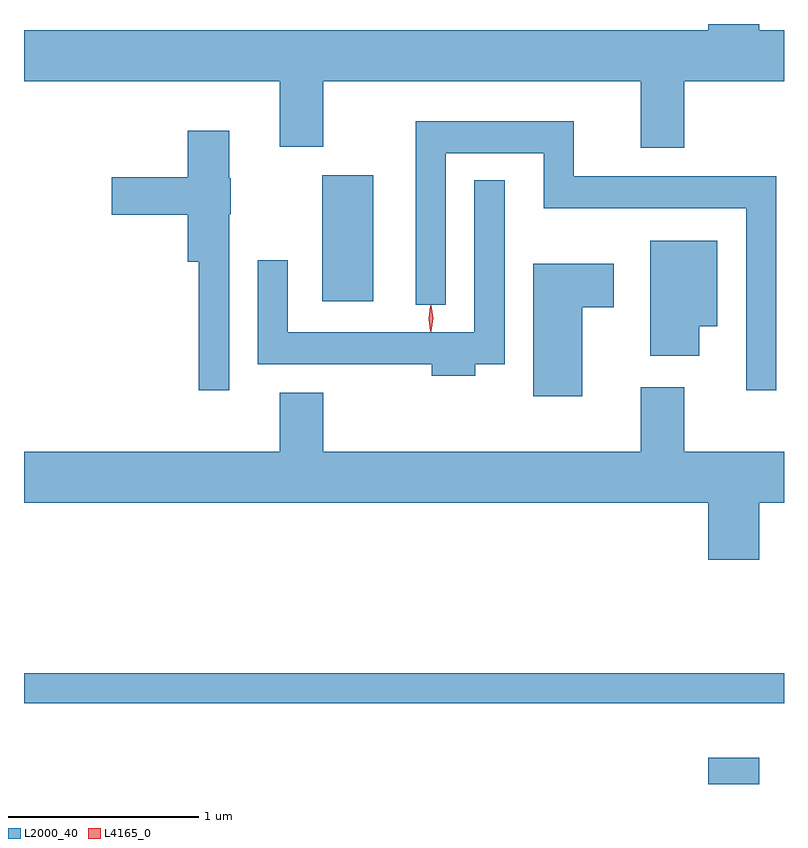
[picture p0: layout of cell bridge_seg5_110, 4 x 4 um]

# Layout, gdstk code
import gdstk
lib = gdstk.Library(unit=1e-6, precision=1e-09)
def R(c, l, rs):  # rectangles x0, y0, x1, y1
    for r in rs: c.add(gdstk.rectangle(r[:2], r[2:], *l))
def P(c, l, *ps):  # polygons
    for p in ps: c.add(gdstk.Polygon(p, *l))
L2000_40 = (2000, 40)
L4165_0 = (4165, 0)

bridge_seg5_110 = lib.new_cell('bridge_seg5_110')
R(bridge_seg5_110, L2000_40, [(1154.136,1519.696,1154.404,1519.834), (1150.535,1520.121,1154.535,1520.279), (1152.106,1522.236,1152.374,1522.899)])
P(bridge_seg5_110, L2000_40, [(1154.009,1523.396),(1154.535,1523.396),(1154.535,1523.664),(1154.404,1523.664),(1154.404,1523.696),(1154.136,1523.696),(1154.136,1523.664),(1150.535,1523.664),(1150.535,1523.396),(1151.881,1523.396),(1151.881,1523.051),(1152.109,1523.051),(1152.109,1523.396),(1153.781,1523.396),(1153.781,1523.046),(1154.009,1523.046)],
  [(1154.494,1522.894),(1153.429,1522.894),(1153.429,1523.184),(1152.596,1523.184),(1152.596,1522.218),(1152.754,1522.218),(1152.754,1523.016),(1153.271,1523.016),(1153.271,1522.726),(1154.336,1522.726),(1154.336,1521.768),(1154.494,1521.768)],
  [(1151.614,1522.695),(1151.624,1522.695),(1151.624,1522.885),(1151.614,1522.885),(1151.614,1523.134),(1151.396,1523.134),(1151.396,1522.889),(1150.996,1522.889),(1150.996,1522.691),(1151.396,1522.691),(1151.396,1522.446),(1151.456,1522.446),(1151.456,1521.768),(1151.614,1521.768)],
  [(1152.909,1521.906),(1153.064,1521.906),(1153.064,1522.873),(1152.906,1522.873),(1152.906,1522.074),(1151.924,1522.074),(1151.924,1522.453),(1151.766,1522.453),(1151.766,1521.906),(1152.681,1521.906),(1152.681,1521.846),(1152.909,1521.846)],
  [(1154.089,1522.106),(1154.184,1522.106),(1154.184,1522.554),(1153.831,1522.554),(1153.831,1521.951),(1154.089,1521.951)],
  [(1153.474,1522.206),(1153.639,1522.206),(1153.639,1522.434),(1153.216,1522.434),(1153.216,1521.736),(1153.474,1521.736)],
  [(1154.404,1521.176),(1154.535,1521.176),(1154.535,1521.444),(1154.009,1521.444),(1154.009,1521.784),(1153.781,1521.784),(1153.781,1521.444),(1152.109,1521.444),(1152.109,1521.754),(1151.881,1521.754),(1151.881,1521.444),(1150.535,1521.444),(1150.535,1521.176),(1154.136,1521.176),(1154.136,1520.876),(1154.404,1520.876)])
P(bridge_seg5_110, L4165_0, [(1152.679,1522.077),(1152.678,1522.078),(1152.668,1522.147),(1152.678,1522.216),(1152.678,1522.216),(1152.679,1522.216),(1152.688,1522.147),(1152.679,1522.078)],
  [(1152.674,1522.079),(1152.674,1522.08),(1152.664,1522.146),(1152.674,1522.212),(1152.674,1522.213),(1152.675,1522.212),(1152.684,1522.146),(1152.675,1522.08)])

lib.write_gds('bridge_seg5_110.gds')
